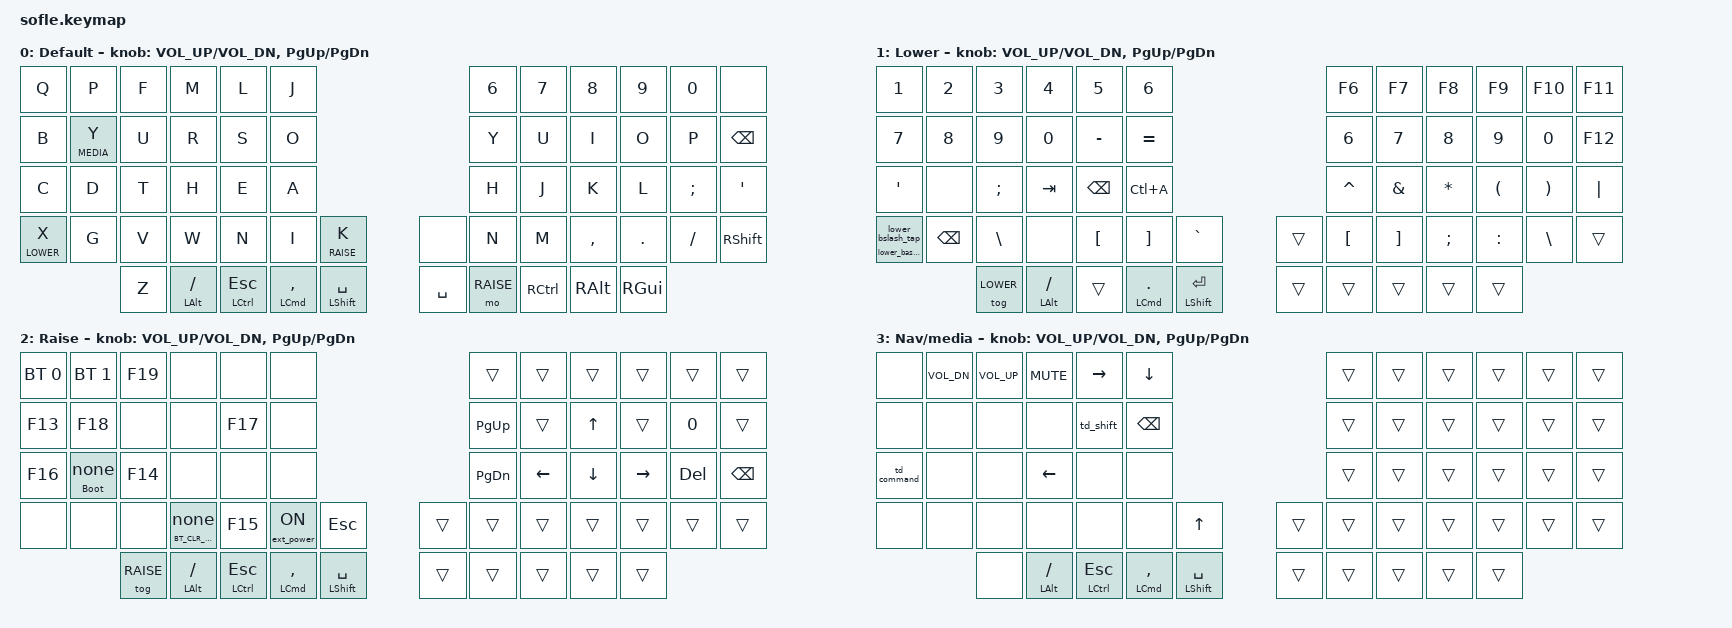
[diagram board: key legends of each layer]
/*
 * Copyright (c) 2020 The ZMK Contributors
 *
 * SPDX-License-Identifier: MIT
 */

#include <behaviors.dtsi>
#include <dt-bindings/zmk/bt.h>
#include <dt-bindings/zmk/ext_power.h>
#include <dt-bindings/zmk/keys.h>

#define BASE 0
#define LOWER 1
#define RAISE 2
#define MEDIA 3

// hold-preferred is &mt's own default, restored here deliberately after a
// detour through balanced. balanced only decides on the OTHER key's release,
// and a hold-tap captures every later keypress while undecided. Holding Ctrl
// and Space together therefore never produced an "other key up", so Ctrl sat
// undecided until its own 200 ms timer with the Space press still queued
// behind it. hold-preferred decides the instant Space goes down.
//
// Keep every &mt directly in the keymap. A tap dance that wraps &mt creates
// the hold-tap only after the dance resolves, after the interrupting key has
// already passed the hold-tap listener. That delayed modifiers and could drop
// a second hold-tap entirely.
&mt {
    flavor = "hold-preferred";
    tapping-term-ms = <200>;
};

// hold-preferred so the layer engages the moment a second key goes down.
// The default, tap-preferred, only resolves on timeout, which meant every
// Lower/Raise access cost a full 200 ms dwell before the layer was live.
&lt {
    flavor = "hold-preferred";
    tapping-term-ms = <200>;
};

/ {
    macros {
        lower_base_peek: lower_base_peek {
            compatible = "zmk,behavior-macro";
            #binding-cells = <0>;
            wait-ms = <0>;
            tap-ms = <0>;
            bindings
                = <&macro_tap &tog LOWER>
                , <&macro_pause_for_release>
                , <&macro_tap &tog LOWER>
                ;
        };

        lower_bslash_tap: lower_bslash_tap {
            compatible = "zmk,behavior-macro";
            #binding-cells = <0>;
            bindings = <&kp BSLH>;
        };

    };

    combos {
        compatible = "zmk,combos";

        // Combos match key POSITIONS, not letters, so an unscoped combo also
        // fires on other layers. Everything benign is pinned to BASE: <0 1>
        // is 1+2 on Lower and BT0+BT1 on Raise; <12 13> is 7+8 on Lower.
        // L+J has no combo; Backspace is Lower+E/G or Navigation/Media+O.
        grave {
            bindings = <&kp GRAVE>;
            key-positions = <0 1>;
            layers = <BASE>;
        };

        tab {
            bindings = <&kp TAB>;
            key-positions = <12 13>;
            layers = <BASE>;
        };

        raise_once {
            bindings = <&sl RAISE>;
            key-positions = <38 39>;
            layers = <BASE>;
        };

        // No destructive combos. Raise V+W used to clear Bluetooth, but the
        // Base V+W one-shot leaves Raise highest for up to a second, so V+W
        // twice cleared the pairing. Raise X+G was the bootloader and one slip
        // from the Lower X-then-G Backspace. Both are one-second holds now.
    };

    behaviors {
        // xlayers/klayers are gone. Wrapping &lt in a tap-dance meant the dance
        // had to resolve first, and tap-dance resolves EAGERLY on any other key
        // press without buffering it. So pressing a second key inside 175 ms
        // leaked the base letter through before the layer was live, and waiting
        // it out cost 175 ms + the hold-tap's own 200 ms. X and K are now plain
        // &lt; locking moved to Z, which is a standalone press and cannot be
        // torn down by the &lt release.

        // The user operates Y with the pinky; H/J/K/L are the arrows. Reuse
        // Media rather than adding a fifth layer. Three guards replace the old
        // mandatory 200 ms dwell:
        // - require-prior-idle: Y within 150 ms of typing is always a letter,
        //   so mid-word rolls (days, eye, any) never reach Nav.
        // - positional: Nav engages only if the FIRST key after Y is a Nav key
        //   or thumb. Most Y-initial words (yes, yet, year, yard) continue on
        //   E/A/U/I, none of which is listed, so they always type. O is listed
        //   for Backspace, so you/your after a pause rely on the next guard.
        // - balanced: that Nav key must also be released while Y is held, so
        //   a rolled Y+key stays two letters. Holding Y alone still gives Nav
        //   after 200 ms, as before.
        // Positions: P F M L J = 1-5, S = 16, O = 17, C = 24, H = 27, K = 42, and the
        // four modifier thumbs 51-54 for Shift/Option/Command movement.
        ymedia: ymedia {
            compatible = "zmk,behavior-hold-tap";
            #binding-cells = <2>;
            flavor = "balanced";
            tapping-term-ms = <200>;
            require-prior-idle-ms = <150>;
            hold-trigger-key-positions = <1 2 3 4 5 16 17 24 27 42 51 52 53 54>;
            bindings = <&mo>, <&kp>;
        };

        // Double-tap to arm a modifier for the trackpad. A single tap does
        // nothing, so a stray Y+C or Y+S cannot leave Command or Shift stuck
        // down; the second tap flips the modifier, and two more taps release
        // it. Tap dances are banned elsewhere in this keymap because one
        // wrapped around a mod-tap delays the modifier and can leak the tap
        // key. Neither applies here: these wrap &none and &kt, never a
        // hold-tap, and a single tap emits nothing to leak. CI enforces that
        // narrower rule.
        //
        // Releasing Y between the two taps types an ordinary "c"/"s" and the
        // dance expires into &none, which is the intended failure.
        td_command: td_command {
            compatible = "zmk,behavior-tap-dance";
            #binding-cells = <0>;
            tapping-term-ms = <300>;
            bindings = <&none>, <&kt LEFT_COMMAND>;
        };

        td_shift: td_shift {
            compatible = "zmk,behavior-tap-dance";
            #binding-cells = <0>;
            tapping-term-ms = <300>;
            bindings = <&none>, <&kt LEFT_SHIFT>;
        };

        // Bind as &hold_bt_clear BT_CLR_CMD 0: BT_CLR is itself two cells
        // ("0 0"), and a third cell shifts every later binding in the layer.
        //
        // Destructive actions are one-second holds on Raise keys that are
        // unused on Lower and Nav/Media too, so neither a doubled V+W nor
        // Lower muscle memory with Raise locked can reach them. Tapping does
        // nothing; tap-preferred fires the hold only on the timer.
        hold_bt_clear: hold_bt_clear {
            compatible = "zmk,behavior-hold-tap";
            #binding-cells = <2>;
            flavor = "tap-preferred";
            tapping-term-ms = <1000>;
            bindings = <&bt>, <&none>;
        };

        hold_bootloader: hold_bootloader {
            compatible = "zmk,behavior-hold-tap";
            #binding-cells = <2>;
            flavor = "tap-preferred";
            tapping-term-ms = <1000>;
            bindings = <&bootloader>, <&none>;
        };

        lower_bslash_base: lower_bslash_base {
            compatible = "zmk,behavior-hold-tap";
            #binding-cells = <2>;
            flavor = "hold-preferred";
            tapping-term-ms = <200>;
            bindings = <&lower_base_peek>, <&lower_bslash_tap>;
        };
    };

    keymap {
        compatible = "zmk,keymap";

        default_layer {
            display-name = "Default";

            // Left half: all letters plus thumb tap/hold behaviors. The right half is disconnected.
            // | Q | P | F | M | L | J |
            // | B | Y: tap Y / hold NAVIGATION+MEDIA | U | R | S | O |
            // | C | D | T | H | E | A |
            // | X: tap X / hold LOWER | G | V | W | N | I | K: tap K / hold RAISE |
            //     | Z | SLASH/ALT | ESC/CTRL | COMMA/CMD | SPACE/SHIFT |
            // To lock a layer: hold X (or K), then tap Z. To leave it: tap Z.

            bindings = <
&kp Q  &kp P  &kp F     &kp M             &kp L            &kp J                                       &kp N6     &kp N7     &kp N8     &kp N9    &kp N0    &none
&kp B  &ymedia MEDIA Y  &kp U     &kp R                 &kp S            &kp O                                       &kp Y      &kp U      &kp I      &kp O     &kp P     &kp BSPC
&kp C  &kp D  &kp T     &kp H                 &kp E            &kp A                                       &kp H      &kp J      &kp K      &kp L     &kp SEMI  &kp SQT
&lt LOWER X  &kp G  &kp V     &kp W                 &kp N            &kp I          &lt RAISE K          &none      &kp N      &kp M      &kp COMMA  &kp DOT   &kp FSLH  &kp RSHFT
              &kp Z     &mt LEFT_ALT SLASH  &mt LEFT_CONTROL ESC  &mt LEFT_COMMAND COMMA  &mt LEFT_SHIFT SPACE    &kp SPACE  &mo RAISE  &kp RCTRL  &kp RALT   &kp RGUI
            >;

            sensor-bindings = <&inc_dec_kp C_VOL_UP C_VOL_DN &inc_dec_kp PG_UP PG_DN>;
        };

        lower_layer {
            display-name = "Lower";

            // Left half:
            // | 1 | 2 | 3 | 4 | 5 | 6 |
            // | 7 | 8 | 9 | 0 | - | = |
            // | ' | UNUSED | ; | TAB | BACKSPACE | CTRL+A |
            // Hold X to use temporarily, or hold X then tap Z to lock. Tap Z to leave.
            // Hold X then tap E or G for Backspace; Y+O also works from Base.
            // This is a Lower binding, not a combo.
            // Shift+Tab uses the Shift thumb plus H/Tab.
            // | BACKSLASH: tap \\ / hold BASE | BACKSPACE | BACKSLASH | UNUSED | [ | ] | ` |
            // V makes backslash/pipe reachable while X is held. Slash is on
            // the Option thumb; period is on the Command thumb.
            // N/I keep [ and ] side by side; Shift gives { and }.
            // E is Backspace. Comma stays on Base's Command thumb.
            // A sends Ctrl+A only: in Ghostty, keep X held and tap Q/P/F for
            // leader 1/2/3, or release X before tapping a Base H/J/K/L command.
            //     | Z: lock / unlock | SLASH/ALT | ESC/CTRL | PERIOD/CMD | ENTER/SHIFT |

            bindings = <
&kp NUMBER_1  &kp NUMBER_2   &kp NUMBER_3  &kp NUMBER_4   &kp N5            &kp NUMBER_6                                 &kp F6     &kp F7    &kp F8     &kp F9     &kp F10   &kp F11
&kp N7        &kp N8         &kp N9        &kp N0         &kp MINUS         &kp EQUAL                                    &kp N6     &kp N7    &kp N8     &kp N9     &kp N0    &kp F12
&kp SQT       &none          &kp SEMI      &kp TAB  &kp BACKSPACE     &kp LC(A)                                    &kp CARET  &kp AMPS  &kp ASTRK  &kp LPAR   &kp RPAR  &kp PIPE
&lower_bslash_base 0 0  &kp BACKSPACE  &kp BSLH  &none        &kp LEFT_BRACKET  &kp RIGHT_BRACKET  &kp GRAVE    &trans  &kp LBKT   &kp RBKT  &kp SEMI   &kp COLON  &kp BSLH  &trans
                             &tog LOWER    &mt LEFT_ALT SLASH  &trans       &mt LEFT_COMMAND DOT  &mt LEFT_SHIFT ENTER  &trans  &trans     &trans    &trans     &trans
            >;

            sensor-bindings = <&inc_dec_kp C_VOL_UP C_VOL_DN &inc_dec_kp PG_UP PG_DN>;
        };

        raise_layer {
            display-name = "Raise";

            // Hold K to use temporarily, or hold K then tap Z to lock. Tap Z to leave.
            // K itself taps ESC here. Z is the single reliable layer exit.
            // V+W on Base activates Raise for one keypress, normally to launch an app.
            // Q/P (Lower's 1/2 positions) select existing BT profiles 0/1.
            // Recovery is a one-second hold: W clears the selected Bluetooth
            // profile; D enters the bootloader. Both are unused on Lower and
            // Nav/Media. Do not move clear onto the BT selectors.
            // | BT0      | BT1    | FINDER   | UNUSED | UNUSED   | UNUSED |
            // Y emits F18 for browser transcript; Shift+Y requests the full brief.
            // | BROWSER  | BRIEF  | UNUSED   | UNUSED | SETTINGS | UNUSED |
            // | CHAT     | HOLD 1s: BOOTLOADER | TERMINAL | UNUSED | UNUSED   | UNUSED |
            // | UNUSED   | UNUSED | UNUSED   | HOLD 1s: CLEAR BT | NOTES    | DISPLAY ON | ESC |
            //     | Z: lock / unlock | SLASH/ALT | ESC/CTRL | COMMA/CMD | SPACE/SHIFT |

            bindings = <
&bt BT_SEL 0  &bt BT_SEL 1       &kp F19        &none              &none              &none                                        &trans     &trans    &trans    &trans     &trans   &trans
&kp F13       &kp F18            &none          &none              &kp F17            &none                                        &kp PG_UP  &trans    &kp UP    &trans     &kp N0   &trans
&kp F16       &hold_bootloader 0 0  &kp F14        &none              &none              &none                                        &kp PG_DN  &kp LEFT  &kp DOWN  &kp RIGHT  &kp DEL  &kp BSPC
&none         &none              &none          &hold_bt_clear BT_CLR_CMD 0  &kp F15            &ext_power EP_ON   &kp ESC           &trans  &trans     &trans    &trans    &trans     &trans   &trans
                                 &tog RAISE    &mt LEFT_ALT SLASH  &mt LEFT_CONTROL ESC  &mt LEFT_COMMAND COMMA  &mt LEFT_SHIFT SPACE    &trans  &trans     &trans    &trans    &trans
            >;

            sensor-bindings = <&inc_dec_kp C_VOL_UP C_VOL_DN &inc_dec_kp PG_UP PG_DN>;
        };

        media_layer {
            display-name = "Nav/media";

            // Hold Y and tap: H/J/K/L are Left/Down/Up/Right; O is Backspace;
            // P/F/M are Volume Down/Volume Up/Mute. Double-tap C or S within
            // 300 ms to hold Command or Shift for Cmd/Shift+click on the
            // trackpad; double-tap again to release. A single tap does nothing.
            // No forward Delete. See ymedia for why Y rolls stay letters.
            //
            // Reached only while Y is physically held. There is no &tog here
            // and no exit key, so it is not a layer you can be stranded in.
            // | UNUSED | VOLUME DOWN | VOLUME UP | MUTE | RIGHT | DOWN |
            // | UNUSED | HELD Y | UNUSED | UNUSED | SHIFT TOGGLE (2x) | BACKSPACE |
            // | COMMAND TOGGLE (2x) | UNUSED | UNUSED | LEFT | UNUSED | UNUSED |
            // | UNUSED | UNUSED | UNUSED | UNUSED | UNUSED | UNUSED | UP |
            // The four modifier thumbs use the Base tap/hold behaviors. Z is
            // unused here: release Y to return to the underlying layer.

            bindings = <
&none  &kp C_VOL_DN  &kp C_VOL_UP  &kp C_MUTE  &kp RIGHT  &kp DOWN                              &trans  &trans  &trans  &trans  &trans  &trans
&none  &none         &none         &none       &td_shift       &kp BACKSPACE                        &trans  &trans  &trans  &trans  &trans  &trans
&td_command       &none  &none      &kp LEFT    &none      &none                                 &trans  &trans  &trans  &trans  &trans  &trans
&none  &none         &none         &none       &none      &none         &kp UP                  &trans  &trans  &trans  &trans  &trans  &trans  &trans
              &none    &mt LEFT_ALT SLASH  &mt LEFT_CONTROL ESC  &mt LEFT_COMMAND COMMA  &mt LEFT_SHIFT SPACE  &trans  &trans  &trans  &trans  &trans
            >;

            sensor-bindings = <&inc_dec_kp C_VOL_UP C_VOL_DN &inc_dec_kp PG_UP PG_DN>;
        };
    };
};
